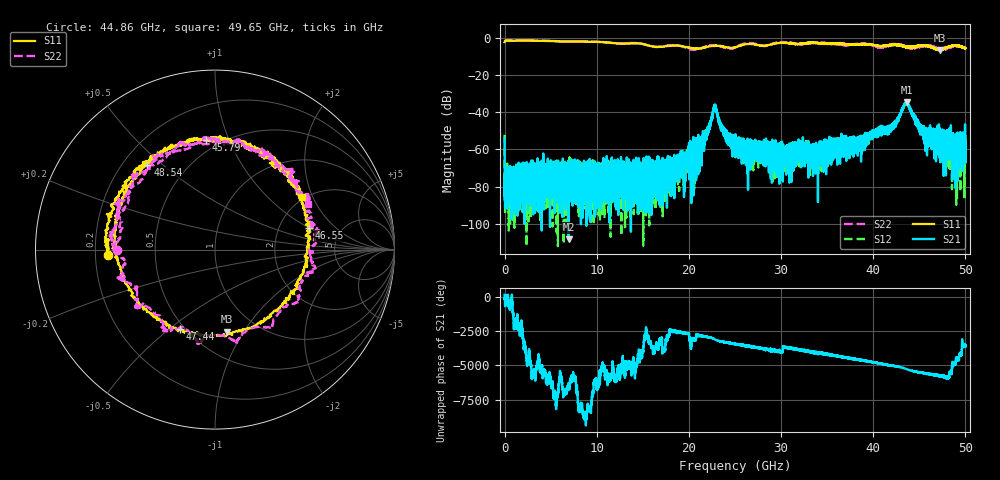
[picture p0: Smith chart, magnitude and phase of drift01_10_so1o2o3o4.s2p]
!Created with skrf (http://scikit-rf.org).
# Hz S RI R 50.0
!freq ReS11 ImS11 ReS21 ImS21 ReS12 ImS12 ReS22 ImS22
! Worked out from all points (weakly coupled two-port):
!   10001 points, 300 kHz to 50 GHz, reference 50 ohm
!   highest |S21| = -34.64 dB at 43.62 GHz (marker M1); lowest = -108.4 dB at 6.95 GHz (marker M2)
!   lowest |S11| = -6.7 dB at 47.22 GHz (marker M3), VSWR 2.71, Z = 36.5 - j42.3 ohm
!   |S11| at or under -10 dB: nowhere
!   |S22| runs from -6.6 to -1.4 dB; largest |S21 - S12| = 0.0053
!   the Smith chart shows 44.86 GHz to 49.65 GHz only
!   S11 on the Smith chart (normalised r, x): 44.86 GHz: 0.25, -0.02; 45.79 GHz: 0.42, +0.83; 46.55 GHz: 2.93, +1.00; 47.44 GHz: 0.47, -0.55; 48.54 GHz: 0.30, +0.45; 49.65 GHz: 1.92, +1.66
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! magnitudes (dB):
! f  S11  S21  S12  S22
! 300 kHz  -2.2  -54.2  -52.1  -2.1
! 265.3 MHz  -1.4  -71.6  -74.1  -1.4
! 6.95 GHz  -2.0  -108.4  -70.7  -1.9
! 8.335 GHz  -2.0  -76.4  -81.2  -1.8
! 16.67 GHz  -4.9  -69.4  -77.6  -4.8
! 20.55 GHz  -5.6  -58.8  -59.5  -6.3
! 21.72 GHz  -5.2  -55.1  -51.8  -4.8
! 22.8 GHz  -4.3  -36.3  -36.1  -4.0
! 23.81 GHz  -4.7  -50.2  -50.5  -5.0
! 25 GHz  -5.0  -55.1  -55.5  -5.1
! 29.16 GHz  -3.2  -58.7  -60.0  -3.1
! 33.34 GHz  -2.6  -61.5  -63.0  -2.6
! 41.67 GHz  -3.9  -49.1  -48.5  -4.3
! 43.62 GHz  -4.8  -34.6  -35.3  -5.1
! 44.86 GHz  -4.5  -47.2  -45.7  -5.3
! 45.79 GHz  -4.3  -52.5  -53.0  -4.3
! 46.55 GHz  -5.4  -52.8  -55.6  -4.9
! 47.22 GHz  -6.7  -53.8  -51.9  -5.7
! 47.44 GHz  -6.3  -55.4  -59.4  -5.7
! 48.54 GHz  -4.4  -57.7  -64.1  -4.5
! 49.65 GHz  -4.9  -57.4  -56.0  -4.8
! 50 GHz  -5.6  -58.0  -55.3  -5.4
